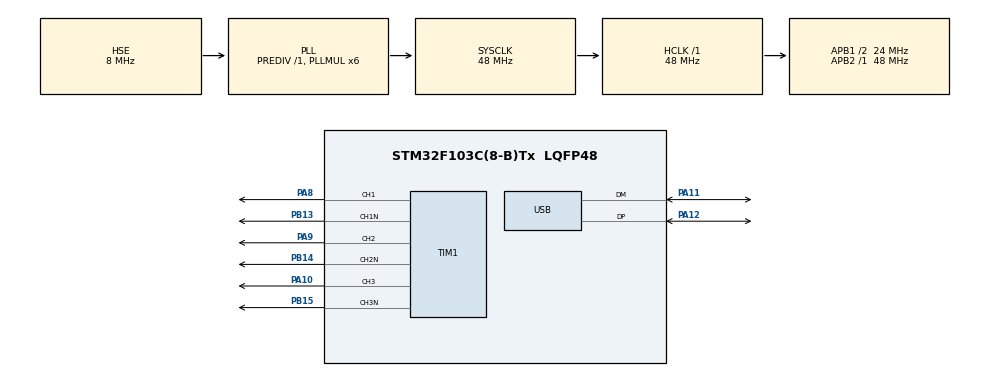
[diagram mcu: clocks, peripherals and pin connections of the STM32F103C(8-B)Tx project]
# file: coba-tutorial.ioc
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Mcu.Family=STM32F1
Mcu.Name=STM32F103C(8-B)Tx
Mcu.Package=LQFP48
NVIC.PriorityGroup=NVIC_PRIORITYGROUP_4
NVIC.USB_LP_CAN1_RX0_IRQn=true\:0\:0\:false\:false\:true\:false\:true\:true
PA10.Signal=S_TIM1_CH3
PA11.Mode=Device
PA11.Signal=USB_DM
PA12.Mode=Device
PA12.Signal=USB_DP
PA13.Mode=Serial_Wire
PA13.Signal=SYS_JTMS-SWDIO
PA14.Mode=Serial_Wire
PA14.Signal=SYS_JTCK-SWCLK
PA8.Signal=S_TIM1_CH1
PA9.Signal=S_TIM1_CH2
PB13.Mode=PWM Generation1 CH1 CH1N
PB13.Signal=TIM1_CH1N
PB14.Mode=PWM Generation2 CH2 CH2N
PB14.Signal=TIM1_CH2N
PB15.Mode=PWM Generation3 CH3 CH3N
PB15.Signal=TIM1_CH3N
PC14-OSC32_IN.Mode=LSE-External-Oscillator
PC14-OSC32_IN.Signal=RCC_OSC32_IN
PC15-OSC32_OUT.Mode=LSE-External-Oscillator
PC15-OSC32_OUT.Signal=RCC_OSC32_OUT
PD0-OSC_IN.Mode=HSE-External-Oscillator
PD0-OSC_IN.Signal=RCC_OSC_IN
PD1-OSC_OUT.Mode=HSE-External-Oscillator
PD1-OSC_OUT.Signal=RCC_OSC_OUT
ProjectManager.HeapSize=0x200
ProjectManager.StackSize=0x400
ProjectManager.TargetToolchain=STM32CubeIDE
RCC.AHBFreq_Value=48000000
RCC.APB1CLKDivider=RCC_HCLK_DIV2
RCC.APB1Freq_Value=24000000
RCC.APB1TimFreq_Value=48000000
RCC.APB2Freq_Value=48000000
RCC.APB2TimFreq_Value=48000000
RCC.HCLKFreq_Value=48000000
RCC.PLLMUL=RCC_PLL_MUL6
RCC.SYSCLKFreq_VALUE=48000000
RCC.SYSCLKSource=RCC_SYSCLKSOURCE_PLLCLK
RCC.USBFreq_Value=48000000
SH.S_TIM1_CH1.0=TIM1_CH1,PWM Generation1 CH1 CH1N
SH.S_TIM1_CH2.0=TIM1_CH2,PWM Generation2 CH2 CH2N
SH.S_TIM1_CH3.0=TIM1_CH3,PWM Generation3 CH3 CH3N
TIM1.Channel-PWM\ Generation1\ CH1\ CH1N=TIM_CHANNEL_1
TIM1.Channel-PWM\ Generation2\ CH2\ CH2N=TIM_CHANNEL_2
TIM1.Channel-PWM\ Generation3\ CH3\ CH3N=TIM_CHANNEL_3
TIM1.DeadTime=130
USB_DEVICE.CLASS_NAME_FS=CDC
USB_DEVICE.VirtualMode=Cdc
USB_DEVICE.VirtualModeFS=Cdc_FS
VP_USB_DEVICE_VS_USB_DEVICE_CDC_FS.Mode=CDC_FS
board=custom

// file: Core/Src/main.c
/* USER CODE BEGIN Header */
/**
  ******************************************************************************
  * @file           : main.c
  * @brief          : Main program body
  ******************************************************************************
  * @attention
  *
  * Copyright (c) 2026 STMicroelectronics.
  * All rights reserved.
  *
  * This software is licensed under terms that can be found in the LICENSE file
  * in the root directory of this software component.
  * If no LICENSE file comes with this software, it is provided AS-IS.
  *
  ******************************************************************************
  */
/* USER CODE END Header */
#include "main.h"
#include "usb_device.h"

TIM_HandleTypeDef htim1;

/* USER CODE BEGIN PV */
uint16_t duty_cycle = 0;
/* USER CODE END PV */

void SystemClock_Config(void);
static void MX_GPIO_Init(void);
static void MX_TIM1_Init(void);

int main(void)
{

  /* MCU Configuration--------------------------------------------------------*/

  /* Reset of all peripherals, Initializes the Flash interface and the Systick. */
  HAL_Init();

  /* Configure the system clock */
  SystemClock_Config();

  /* Initialize all configured peripherals */
  MX_GPIO_Init();
  MX_TIM1_Init();
  MX_USB_DEVICE_Init();
  /* USER CODE BEGIN 2 */
  // Memulai Timer 1 dalam mode PWM
  // IR2110 dan IRFZ44N biasanya menggunakan output utama (CHx) dan complementary (CHxN)
  // sesuai dead time yang telah dikonfigurasi di CubeMX
  HAL_TIM_PWM_Start(&htim1, TIM_CHANNEL_1);
  HAL_TIMEx_PWMN_Start(&htim1, TIM_CHANNEL_1);

  HAL_TIM_PWM_Start(&htim1, TIM_CHANNEL_2);
  HAL_TIMEx_PWMN_Start(&htim1, TIM_CHANNEL_2);

  HAL_TIM_PWM_Start(&htim1, TIM_CHANNEL_3);
  HAL_TIMEx_PWMN_Start(&htim1, TIM_CHANNEL_3);
  /* USER CODE END 2 */

  /* Infinite loop */
  /* USER CODE BEGIN WHILE */
  while (1)
  {
    /* Contoh Kontrol Open Loop: Menaikkan kecepatan motor perlahan */
    for (duty_cycle = 0; duty_cycle <= 65000; duty_cycle += 500)
    {
      __HAL_TIM_SET_COMPARE(&htim1, TIM_CHANNEL_1, duty_cycle);
      /* Uncomment baris di bawah jika menggerakkan lebih dari 1 fasa (misal BLDC): */
      // __HAL_TIM_SET_COMPARE(&htim1, TIM_CHANNEL_2, duty_cycle);
      // __HAL_TIM_SET_COMPARE(&htim1, TIM_CHANNEL_3, duty_cycle);
      HAL_Delay(50);
    }

    /* Menurunkan kecepatan motor perlahan */
    for (duty_cycle = 65000; duty_cycle >= 500; duty_cycle -= 500)
    {
      __HAL_TIM_SET_COMPARE(&htim1, TIM_CHANNEL_1, duty_cycle);
      // __HAL_TIM_SET_COMPARE(&htim1, TIM_CHANNEL_2, duty_cycle);
      // __HAL_TIM_SET_COMPARE(&htim1, TIM_CHANNEL_3, duty_cycle);
      HAL_Delay(50);
    }

    /* Matikan motor sejenak */
    __HAL_TIM_SET_COMPARE(&htim1, TIM_CHANNEL_1, 0);
    // __HAL_TIM_SET_COMPARE(&htim1, TIM_CHANNEL_2, 0);
    // __HAL_TIM_SET_COMPARE(&htim1, TIM_CHANNEL_3, 0);
    HAL_Delay(1000);
    /* USER CODE END WHILE */

  }
}

void SystemClock_Config(void)
{
  RCC_OscInitTypeDef RCC_OscInitStruct = {0};
  RCC_ClkInitTypeDef RCC_ClkInitStruct = {0};
  RCC_PeriphCLKInitTypeDef PeriphClkInit = {0};

  /** Initializes the RCC Oscillators according to the specified parameters
  * in the RCC_OscInitTypeDef structure.
  */
  RCC_OscInitStruct.OscillatorType = RCC_OSCILLATORTYPE_HSE;
  RCC_OscInitStruct.HSEState = RCC_HSE_ON;
  RCC_OscInitStruct.HSEPredivValue = RCC_HSE_PREDIV_DIV1;
  RCC_OscInitStruct.HSIState = RCC_HSI_ON;
  RCC_OscInitStruct.PLL.PLLState = RCC_PLL_ON;
  RCC_OscInitStruct.PLL.PLLSource = RCC_PLLSOURCE_HSE;
  RCC_OscInitStruct.PLL.PLLMUL = RCC_PLL_MUL6;
  if (HAL_RCC_OscConfig(&RCC_OscInitStruct) != HAL_OK)
  {
    Error_Handler();
  }

  /** Initializes the CPU, AHB and APB buses clocks
  */
  RCC_ClkInitStruct.ClockType = RCC_CLOCKTYPE_HCLK|RCC_CLOCKTYPE_SYSCLK
                              |RCC_CLOCKTYPE_PCLK1|RCC_CLOCKTYPE_PCLK2;
  RCC_ClkInitStruct.SYSCLKSource = RCC_SYSCLKSOURCE_PLLCLK;
  RCC_ClkInitStruct.AHBCLKDivider = RCC_SYSCLK_DIV1;
  RCC_ClkInitStruct.APB1CLKDivider = RCC_HCLK_DIV2;
  RCC_ClkInitStruct.APB2CLKDivider = RCC_HCLK_DIV1;

  if (HAL_RCC_ClockConfig(&RCC_ClkInitStruct, FLASH_LATENCY_1) != HAL_OK)
  {
    Error_Handler();
  }
  PeriphClkInit.PeriphClockSelection = RCC_PERIPHCLK_USB;
  PeriphClkInit.UsbClockSelection = RCC_USBCLKSOURCE_PLL;
  if (HAL_RCCEx_PeriphCLKConfig(&PeriphClkInit) != HAL_OK)
  {
    Error_Handler();
  }
}

static void MX_TIM1_Init(void)
{

  TIM_MasterConfigTypeDef sMasterConfig = {0};
  TIM_OC_InitTypeDef sConfigOC = {0};
  TIM_BreakDeadTimeConfigTypeDef sBreakDeadTimeConfig = {0};

  htim1.Instance = TIM1;
  htim1.Init.Prescaler = 0;
  htim1.Init.CounterMode = TIM_COUNTERMODE_UP;
  htim1.Init.Period = 65535;
  htim1.Init.ClockDivision = TIM_CLOCKDIVISION_DIV1;
  htim1.Init.RepetitionCounter = 0;
  htim1.Init.AutoReloadPreload = TIM_AUTORELOAD_PRELOAD_DISABLE;
  if (HAL_TIM_PWM_Init(&htim1) != HAL_OK)
  {
    Error_Handler();
  }
  sMasterConfig.MasterOutputTrigger = TIM_TRGO_RESET;
  sMasterConfig.MasterSlaveMode = TIM_MASTERSLAVEMODE_DISABLE;
  if (HAL_TIMEx_MasterConfigSynchronization(&htim1, &sMasterConfig) != HAL_OK)
  {
    Error_Handler();
  }
  sConfigOC.OCMode = TIM_OCMODE_PWM1;
  sConfigOC.Pulse = 0;
  sConfigOC.OCPolarity = TIM_OCPOLARITY_HIGH;
  sConfigOC.OCNPolarity = TIM_OCNPOLARITY_HIGH;
  sConfigOC.OCFastMode = TIM_OCFAST_DISABLE;
  sConfigOC.OCIdleState = TIM_OCIDLESTATE_RESET;
  sConfigOC.OCNIdleState = TIM_OCNIDLESTATE_RESET;
  if (HAL_TIM_PWM_ConfigChannel(&htim1, &sConfigOC, TIM_CHANNEL_1) != HAL_OK)
  {
    Error_Handler();
  }
  if (HAL_TIM_PWM_ConfigChannel(&htim1, &sConfigOC, TIM_CHANNEL_2) != HAL_OK)
  {
    Error_Handler();
  }
  if (HAL_TIM_PWM_ConfigChannel(&htim1, &sConfigOC, TIM_CHANNEL_3) != HAL_OK)
  {
    Error_Handler();
  }
  sBreakDeadTimeConfig.OffStateRunMode = TIM_OSSR_DISABLE;
  sBreakDeadTimeConfig.OffStateIDLEMode = TIM_OSSI_DISABLE;
  sBreakDeadTimeConfig.LockLevel = TIM_LOCKLEVEL_OFF;
  sBreakDeadTimeConfig.DeadTime = 130;
  sBreakDeadTimeConfig.BreakState = TIM_BREAK_DISABLE;
  sBreakDeadTimeConfig.BreakPolarity = TIM_BREAKPOLARITY_HIGH;
  sBreakDeadTimeConfig.AutomaticOutput = TIM_AUTOMATICOUTPUT_DISABLE;
  if (HAL_TIMEx_ConfigBreakDeadTime(&htim1, &sBreakDeadTimeConfig) != HAL_OK)
  {
    Error_Handler();
  }
  HAL_TIM_MspPostInit(&htim1);

}

static void MX_GPIO_Init(void)
{

  /* GPIO Ports Clock Enable */
  __HAL_RCC_GPIOC_CLK_ENABLE();
  __HAL_RCC_GPIOD_CLK_ENABLE();
  __HAL_RCC_GPIOB_CLK_ENABLE();
  __HAL_RCC_GPIOA_CLK_ENABLE();

}

void Error_Handler(void)
{
  __disable_irq();
  while (1)
  {
  }
}
